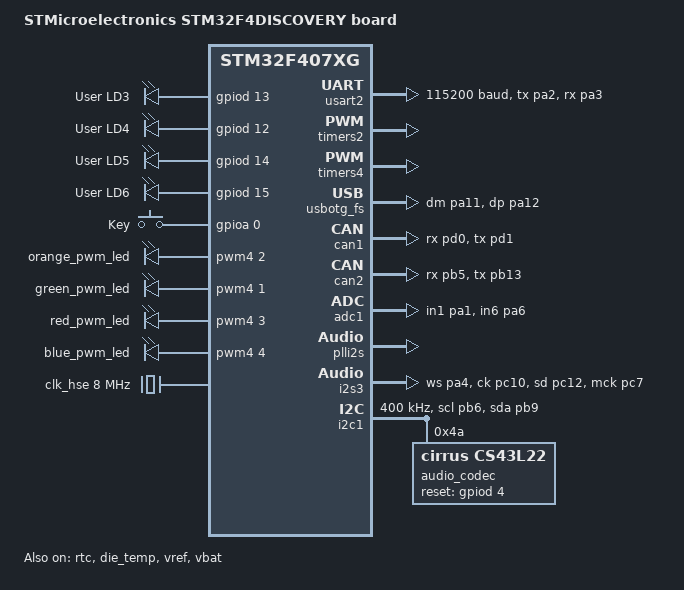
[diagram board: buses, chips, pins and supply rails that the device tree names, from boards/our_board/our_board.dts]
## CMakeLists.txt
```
cmake_minimum_required(VERSION 3.20.0)

list(APPEND ZEPHYR_EXTRA_MODULES "${CMAKE_CURRENT_SOURCE_DIR}/../led_sensor")
list(APPEND BOARD_ROOT ${CMAKE_CURRENT_SOURCE_DIR})

find_package(Zephyr REQUIRED)
project(my_zephyr_app)

target_sources(app PRIVATE src/main.cpp)
```

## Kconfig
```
config APP_HEARTBEAT_PERIOD_MS
  int "Heart Beat Period(ms)"
  default 500
  range 100 2000
  help
    Sleep time for heart beat signal
  

menuconfig LED_SUBSYSTEM
  bool "LED Subsystem"
  default y

if LED_SUBSYSTEM

  choice
    prompt "LED blink sleep time"
    default BLINK_SLEEP_MEDIUM
  
  config BLINK_SLEEP_SLOW
    bool "slow"
  config BLINK_SLEEP_NORMAL
    bool "normal"
  config BLINK_SLEEP_MEDIUM
    bool "medium"
  config BLINK_SLEEP_FAST
    bool "fast"
  endchoice
  
  config BLINK_SLEEP_TIME_MS 
    int  # no prompt means hidden in menuconfig
    default 2000 if BLINK_SLEEP_SLOW
    default 1000 if BLINK_SLEEP_NORMAL
    default 500 if BLINK_SLEEP_MEDIUM
    default 250 if BLINK_SLEEP_FAST
    default 0 
    help
      Time between LED toggles in miliseconds.

  menuconfig ADVANCED_LED_SETTINGS
    bool "Advanced LED Settings"
    default n

  if ADVANCED_LED_SETTINGS

    config LED_BRIGHTNESS
      int "LED Brightness (0-100)"
      default 100
      range 0 100
      help
        Value to set brightness
        
    config LED_FADE_DURATION
      int "LED Fade Duration (ms)"
      default 1000
      range 0 5000
      help
        Time for fading
        
  endif # ADVANCED_LED_SETTINGS

  menu "Expert Settings"
    visible if ADVANCED_LED_SETTINGS 

    config ENABLE_LED_DEBUGGING
      bool "Enable LED Debugging"
      default n

    config CUSTOM_BLINK_PATTERN
      bool "Custom Blink Pattern"
      default n
  endmenu

endif # LED_SUBSYSTEM
  

source "Kconfig.zephyr"
```

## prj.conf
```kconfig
CONFIG_GPIO=y
CONFIG_LOG=y
# CONFIG_SHELL=y
```

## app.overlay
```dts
/ {
  aliases {
   app-led = &red_led_5; 
   pulse-in = &cny70_pulse;
  };

  pulse_sensor: pulse_sensor {
    compatible = "gpio-keys";

    cny70_pulse: pulse_0 {
			gpios = <&gpioa 0 GPIO_ACTIVE_HIGH>;
      label = "CNY70 pulse";
    };
  };

  led_sensor0: led-sensor-0 {
    compatible = "engram,led-sensor";
    led-gpios = <&gpiod 12 GPIO_ACTIVE_HIGH>;
    status = "okay";
  };

  led_sensor1: led-sensor-1 {
    compatible = "engram,led-sensor";
    led-gpios = <&gpiod 13 GPIO_ACTIVE_HIGH>;
    status = "okay";
  };
};
```

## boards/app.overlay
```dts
/ {
    
    aliases {
        app-led = &led0;
    };

    leds {
        compatible = "gpio-leds";
        
        led0: led0 {
            gpios = <&gpiod 12 GPIO_ACTIVE_HIGH>;
        };
    };
};
```

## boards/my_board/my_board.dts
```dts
/*
 * Copyright (c) 2017 Linaro Limited
 *
 * SPDX-License-Identifier: Apache-2.0
 */

/dts-v1/;
#include <st/f4/stm32f407Xg.dtsi>
#include <st/f4/stm32f407v(e-g)tx-pinctrl.dtsi>

/ {
	model = "My Board";
	compatible = "engramsoft,my-board";

  aliases {
    led0 = &green_led_4;
    led1 = &orange_led_3;
    led2 = &red_led_5;
    led3 = &blue_led_6;
  };

	chosen {
		zephyr,console = &usart2;
		zephyr,shell-uart = &usart2;
		zephyr,sram = &sram0;
		zephyr,flash = &flash0;
	};

	leds {
		compatible = "gpio-leds";

		orange_led_3: led_3 {
			gpios = <&gpiod 13 GPIO_ACTIVE_HIGH>;
			label = "User LD3";
		};

		green_led_4: led_4 {
			gpios = <&gpiod 12 GPIO_ACTIVE_HIGH>;
			label = "User LD4";
		};

		red_led_5: led_5 {
			gpios = <&gpiod 14 GPIO_ACTIVE_HIGH>;
			label = "User LD5";
		};

		blue_led_6: led_6 {
			gpios = <&gpiod 15 GPIO_ACTIVE_HIGH>;
			label = "User LD6";
		};
	};

};

&gpioa { 
  status = "okay"; 
};

&gpiod {
  status = "okay";  
};

&gpiob { status = "disabled"; };
&gpioc { status = "disabled"; };
&gpioe { status = "disabled"; };
&gpiof { status = "disabled"; };
&gpiog { status = "disabled"; };
&gpioh { status = "disabled"; };
&gpioi { status = "disabled"; };

&clk_lsi {
	status = "okay";
};

&clk_hse {
	clock-frequency = <DT_FREQ_M(8)>;
	status = "okay";
};

&pll {
	div-m = <8>;
	mul-n = <336>;
	div-p = <2>;
	div-q = <7>;
	clocks = <&clk_hse>;
	status = "okay";
};

&rcc {
	clocks = <&pll>;
	clock-frequency = <DT_FREQ_M(168)>;
	ahb-prescaler = <1>;
	apb1-prescaler = <4>;
	apb2-prescaler = <2>;
};

&usart2 {
	pinctrl-0 = <&usart2_tx_pa2 &usart2_rx_pa3>;
	pinctrl-names = "default";
	current-speed = <115200>;
	status = "okay";
};
```

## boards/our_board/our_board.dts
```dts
/*
 *
 Copyright (c) 2017 Linaro Limited
 *
 * SPDX-License-Identifier: Apache-2.0
 */

/dts-v1/;
#include <st/f4/stm32f407Xg.dtsi>
#include <st/f4/stm32f407v(e-g)tx-pinctrl.dtsi>
#include <zephyr/dt-bindings/input/input-event-codes.h>

/ {
	model = "STMicroelectronics STM32F4DISCOVERY board";
	compatible = "st,stm32f4discovery";

	chosen {
		zephyr,console = &usart2;
		zephyr,shell-uart = &usart2;
		zephyr,sram = &sram0;
		zephyr,flash = &flash0;
		zephyr,dtcm = &ccm0;
		zephyr,canbus = &can2;
	};

	leds {
		compatible = "gpio-leds";

		orange_led_3: led_3 {
			gpios = <&gpiod 13 GPIO_ACTIVE_HIGH>;
			label = "User LD3";
		};

		green_led_4: led_4 {
			gpios = <&gpiod 12 GPIO_ACTIVE_HIGH>;
			label = "User LD4";
		};

		red_led_5: led_5 {
			gpios = <&gpiod 14 GPIO_ACTIVE_HIGH>;
			label = "User LD5";
		};

		blue_led_6: led_6 {
			gpios = <&gpiod 15 GPIO_ACTIVE_HIGH>;
			label = "User LD6";
		};
	};

	gpio_keys {
		compatible = "gpio-keys";

		user_button: button {
			label = "Key";
			gpios = <&gpioa 0 GPIO_ACTIVE_HIGH>;
			zephyr,code = <INPUT_KEY_0>;
		};
	};

	pwmleds: pwmleds {
		compatible = "pwm-leds";

		orange_pwm_led: orange_pwm_led {
			pwms = <&pwm4 2 PWM_USEC(100) PWM_POLARITY_NORMAL>;
		};

		green_pwm_led: green_pwm_led {
			pwms = <&pwm4 1 PWM_USEC(100) PWM_POLARITY_NORMAL>;
		};

		red_pwm_led: red_pwm_led {
			pwms = <&pwm4 3 PWM_USEC(100) PWM_POLARITY_NORMAL>;
		};

		blue_pwm_led: blue_pwm_led {
			pwms = <&pwm4 4 PWM_USEC(100) PWM_POLARITY_NORMAL>;
		};
	};

	aliases {
		led0 = &green_led_4;
		led1 = &orange_led_3;
		led2 = &red_led_5;
		led3 = &blue_led_6;
		sw0 = &user_button;
		die-temp0 = &die_temp;
		volt-sensor0 = &vref;
		volt-sensor1 = &vbat;
	};
};

&clk_lsi {
	status = "okay";
};

&clk_hse {
	clock-frequency = <DT_FREQ_M(8)>;
	status = "okay";
};

&pll {
	div-m = <8>;
	mul-n = <336>;
	div-p = <2>;
	div-q = <7>;
	clocks = <&clk_hse>;
	status = "okay";
};

&rcc {
	clocks = <&pll>;
	clock-frequency = <DT_FREQ_M(168)>;
	ahb-prescaler = <1>;
	apb1-prescaler = <4>;
	apb2-prescaler = <2>;
};

&usart2 {
	pinctrl-0 = <&usart2_tx_pa2 &usart2_rx_pa3>;
	pinctrl-names = "default";
	current-speed = <115200>;
	status = "okay";
};

&timers2 {
	status = "okay";

	pwm2: pwm {
		status = "okay";
		pinctrl-0 = <&tim2_ch1_pa0>;
		pinctrl-names = "default";
	};
};

&timers4 {
	status = "okay";

	pwm4: pwm {
		status = "okay";
		pinctrl-0 = <&tim4_ch1_pd12 &tim4_ch2_pd13 &tim4_ch3_pd14 &tim4_ch4_pd15>;
		pinctrl-names = "default";
	};
};

&rtc {
	clocks = <&rcc STM32_CLOCK(APB1, 28)>,
		 <&rcc STM32_SRC_LSI RTC_SEL(2)>;
	status = "okay";

	backup_regs {
		status = "okay";
	};
};

zephyr_udc0: &usbotg_fs {
	pinctrl-0 = <&usb_otg_fs_dm_pa11 &usb_otg_fs_dp_pa12>;
	pinctrl-names = "default";
	status = "okay";
};

&can1 {
	pinctrl-0 = <&can1_rx_pd0 &can1_tx_pd1>;
	pinctrl-names = "default";
	status = "okay";
};

&can2 {
	pinctrl-0 = <&can2_rx_pb5 &can2_tx_pb13>;
	pinctrl-names = "default";
	status = "okay";
};

&adc1 {
	pinctrl-0 = <&adc1_in1_pa1 &adc1_in6_pa6>;
	pinctrl-names = "default";
	st,adc-prescaler = <2>;
	status = "okay";
};

&die_temp {
	status = "okay";
};

&vref {
	status = "okay";
};

&vbat {
	status = "okay";
};

&dma1 {
	status = "okay";
};

&plli2s {
	/* Minimize audio clock error (with i2s mck-enabled) for all of:
	 * - 22.05kHz / 16b, 24b or 32b
	 * - 44.1kHz  / 16b, 24b or 32b
	 * - 88.2kHz  / 16b or 24b
	 * Note: because the PLLI2S is dependent on the main PLL, the latter
	 *       should not be changed without checking impact on PLLI2S
	 */
	div-m = <8>;
	mul-n = <271>;
	div-r = <2>;
	clocks = <&clk_hse>;
	status = "okay";
};

&i2s3 {
	mck-enabled;
	pinctrl-0 = <&i2s3_ws_pa4 &i2s3_ck_pc10 &i2s3_sd_pc12 &i2s3_mck_pc7>;
	pinctrl-names = "default";
	clocks = <&rcc STM32_CLOCK(APB1, 15)>,
		 <&rcc STM32_SRC_PLLI2S_R I2S_SEL(0)>;
	status = "okay";
};

&i2c1 {
	clock-frequency = <I2C_BITRATE_FAST>;
	pinctrl-0 = <&i2c1_scl_pb6 &i2c1_sda_pb9>;
	pinctrl-names = "default";
	status = "okay";

	audio_codec: cs43l22@4a {
		compatible = "cirrus,cs43l22";
		reg = <0x4a>;
		reset-gpios = <&gpiod 4 0>;
	};
};
```

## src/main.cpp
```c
#include "zephyr/drivers/sensor.h"
#include <led_sensor.h>
#include <zephyr/drivers/gpio.h>
#include <zephyr/kernel.h>
#include <zephyr/logging/log.h>

LOG_MODULE_REGISTER(main, LOG_LEVEL_INF);

#define LED_NODE DT_ALIAS(app_led)

static const struct gpio_dt_spec led = GPIO_DT_SPEC_GET(LED_NODE, gpios);
static const struct device *dev = DEVICE_DT_GET(DT_NODELABEL(led_sensor0));

int main(void) {
  // LED SENSOR Device
  if (!device_is_ready(dev)) {
    LOG_ERR("[LED SENSOR]: driver not ready");
    return 0;
  }

  LOG_INF("[LED SENSOR]: %d LED driver instance(s) initialized",
          led_sensor_get_instance_count(dev));

  // APP LED with GPIO
  if (!gpio_is_ready_dt(&led)) {
    LOG_ERR("[APP LED]: device is not ready");
    return 0;
  }

  if (gpio_pin_configure_dt(&led, GPIO_OUTPUT_ACTIVE) < 0) {
    LOG_ERR("[APP LED]: failed to configure App LED pin");
    return 0;
  }

  while (1) {
    if (gpio_pin_toggle_dt(&led) < 0)
      return 0;

    LOG_INF("[LED SENSOR]: sample_fetch");
    sensor_sample_fetch(dev);

    k_msleep(CONFIG_APP_HEARTBEAT_PERIOD_MS);

    LOG_INF("[LED SENSOR]: channel_get");
    sensor_channel_get(dev, SENSOR_CHAN_LIGHT, NULL);

    k_msleep(CONFIG_APP_HEARTBEAT_PERIOD_MS);
  }
  return 0;
}
```
